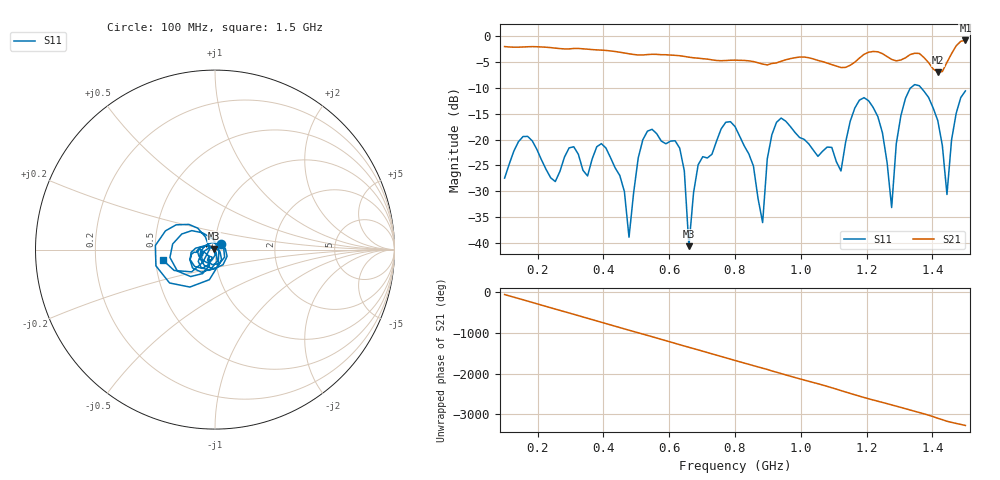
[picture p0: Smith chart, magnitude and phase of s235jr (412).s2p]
! NanoVNA-App
! Date: 2025-09-25 15:07:22
! Start: 100MHz Stop: 1,5GHz Points: 101
! S-Parameter data: F S11 S21 S12 S22
# Hz S RI R 50
!  Frequency  S11_Real  S11_Imag  S21_Real  S21_Imag  S12_Real  S12_Imag  S22_Real  S22_Imag
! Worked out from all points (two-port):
!   101 points, 100 MHz to 1.5 GHz, reference 50 ohm
!   highest |S21| = -0.78 dB at 1.5 GHz (marker M1); lowest = -6.9 dB at 1.416 GHz (marker M2)
!   |S21| within 3 dB of the highest: start of sweep to 636.1 MHz; 1.186 GHz to 1.259 GHz (72.77 MHz wide, 5.95 % of centre) (the widest 2 of 4)
!   lowest |S11| = -40.7 dB at 660 MHz (marker M3), VSWR 1.02, Z = 49.3 + j0.581 ohm
!   |S11| at or under -10 dB: start of sweep to 1.333 GHz; 1.366 GHz to end of sweep
!   S12 and S22 are empty: the file has one direction only
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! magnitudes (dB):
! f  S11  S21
! 100 MHz  -27.5  -2.0
! 156 MHz  -19.4  -2.0
! 338 MHz  -25.9  -2.4
! 408 MHz  -21.7  -2.7
! 478 MHz  -38.9  -3.4
! 520 MHz  -20.0  -3.6
! 576 MHz  -20.3  -3.5
! 632 MHz  -21.7  -3.7
! 660 MHz  -40.7  -4.0
! 688 MHz  -24.9  -4.2
! 800 MHz  -17.5  -4.6
! 884 MHz  -36.1  -5.4
! 926 MHz  -16.7  -5.1
! 1.038 GHz  -22.1  -4.4
! 1.122 GHz  -26.1  -6.0
! 1.206 GHz  -12.5  -3.1
! 1.276 GHz  -33.2  -4.5
! 1.29 GHz  -20.8  -4.7
! 1.332 GHz  -10.1  -3.5
! 1.416 GHz  -16.3  -6.9
! 1.444 GHz  -30.6  -5.0
! 1.5 GHz  -10.6  -0.8
